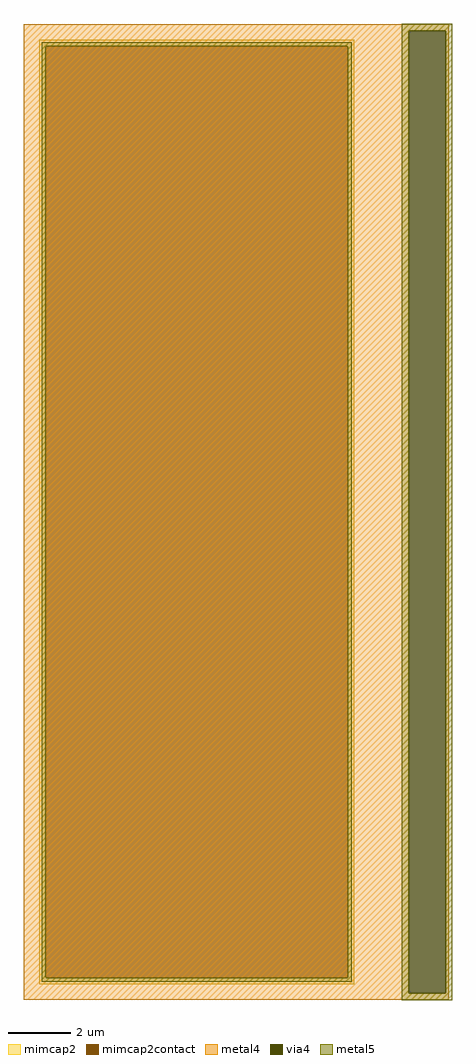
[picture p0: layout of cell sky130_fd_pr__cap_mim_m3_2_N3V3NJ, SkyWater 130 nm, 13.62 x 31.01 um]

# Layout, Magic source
magic
tech sky130B
magscale 1 2
<< metal4 >>
rect -1351 3059 1351 3100
rect -1351 -3059 1095 3059
rect 1331 -3059 1351 3059
rect -1351 -3100 1351 -3059
<< via4 >>
rect 1095 -3059 1331 3059
<< mimcap2 >>
rect -1251 2960 749 3000
rect -1251 -2960 -1211 2960
rect 709 -2960 749 2960
rect -1251 -3000 749 -2960
<< mimcap2contact >>
rect -1211 -2960 709 2960
<< metal5 >>
rect 1053 3059 1373 3101
rect -1235 2960 733 2984
rect -1235 -2960 -1211 2960
rect 709 -2960 733 2960
rect -1235 -2984 733 -2960
rect 1053 -3059 1095 3059
rect 1331 -3059 1373 3059
rect 1053 -3101 1373 -3059
<< properties >>
string FIXED_BBOX -1351 -3100 849 3100
string gencell sky130_fd_pr__cap_mim_m3_2
string library sky130
string parameters w 10 l 30 val 615.2 carea 2.00 cperi 0.19 nx 1 ny 1 dummy 0 square 0 lmin 2.00 wmin 2.00 lmax 30.0 wmax 30.0 dc 0 bconnect 1 tconnect 1 ccov 100
<< end >>
